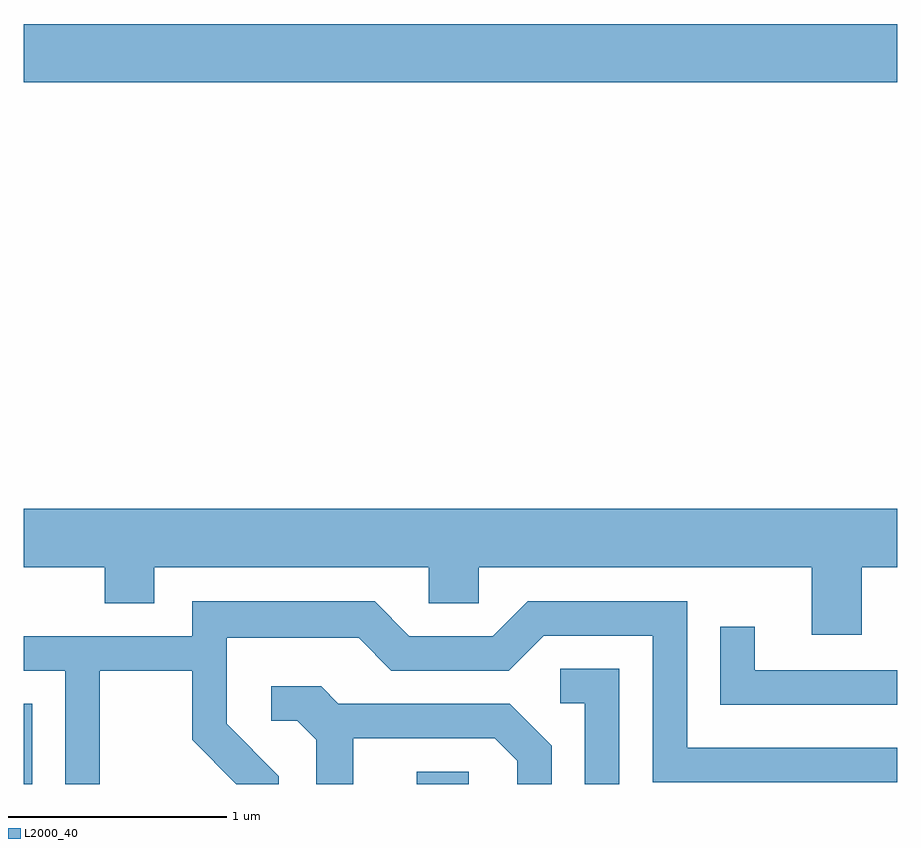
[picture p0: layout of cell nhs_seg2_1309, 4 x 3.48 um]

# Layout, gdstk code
import gdstk
lib = gdstk.Library(unit=1e-6, precision=1e-09)
def R(c, l, rs):  # rectangles x0, y0, x1, y1
    for r in rs: c.add(gdstk.rectangle(r[:2], r[2:], *l))
def P(c, l, *ps):  # polygons
    for p in ps: c.add(gdstk.Polygon(p, *l))
L2000_40 = (2000, 40)

nhs_seg2_1309 = lib.new_cell('nhs_seg2_1309')
R(nhs_seg2_1309, L2000_40, [(223.611,1011.802,223.649,1012.169), (225.411,1011.802,225.649,1011.859), (223.611,1015.016,227.611,1015.284)])
P(nhs_seg2_1309, L2000_40, [(227.449,1012.796),(227.611,1012.796),(227.611,1013.064),(223.611,1013.064),(223.611,1012.796),(223.981,1012.796),(223.981,1012.631),(224.209,1012.631),(224.209,1012.796),(225.466,1012.796),(225.466,1012.631),(225.694,1012.631),(225.694,1012.796),(227.221,1012.796),(227.221,1012.486),(227.449,1012.486)],
  [(223.959,1012.321),(224.381,1012.321),(224.381,1012.004),(224.583,1011.802),(224.779,1011.802),(224.779,1011.837),(224.539,1012.077),(224.539,1012.471),(225.144,1012.471),(225.294,1012.321),(225.832,1012.321),(225.992,1012.481),(226.491,1012.481),(226.491,1011.811),(227.611,1011.811),(227.611,1011.969),(226.649,1011.969),(226.649,1012.639),(225.919,1012.639),(225.759,1012.479),(225.377,1012.479),(225.217,1012.639),(224.381,1012.639),(224.381,1012.479),(223.611,1012.479),(223.611,1012.321),(223.801,1012.321),(223.801,1011.802),(223.959,1011.802)],
  [(227.611,1012.324),(226.959,1012.324),(226.959,1012.523),(226.801,1012.523),(226.801,1012.166),(227.611,1012.166)],
  [(226.339,1012.329),(226.068,1012.329),(226.068,1012.171),(226.181,1012.171),(226.181,1011.802),(226.339,1011.802)],
  [(225.119,1012.011),(225.769,1012.011),(225.871,1011.909),(225.871,1011.802),(226.029,1011.802),(226.029,1011.977),(225.837,1012.169),(225.052,1012.169),(224.972,1012.249),(224.743,1012.249),(224.743,1012.091),(224.864,1012.091),(224.951,1012.004),(224.951,1011.802),(225.119,1011.802)])

lib.write_gds('nhs_seg2_1309.gds')
